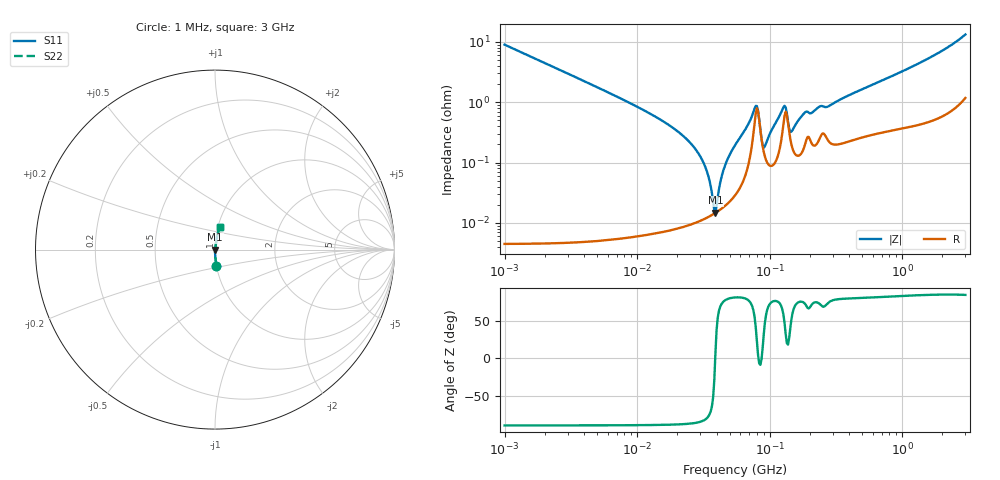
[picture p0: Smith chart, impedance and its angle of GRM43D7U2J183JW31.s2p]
!Murata Part Number: GRM43D7U2J183JW31
!These Parameters are Measured in Series Mode Connection
!Data Generated on Mar 30, 2021
!  o--ll--o
!Port1  Port2
!  o------o
!Operation Temp=25[degC], DC Bias Voltage=0[V]
!Freq. Start=1000[kHz] Stop=3[GHz] 401[Steps]
# Hz S RI R 50
!Freq.(Hz) S11(Real) S11(Imag) S21(Real) S21(Imag) S12(Real) S12(Imag) S22(Real) S22(Imag)
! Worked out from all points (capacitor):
!   401 points, 1 MHz to 3 GHz, reference 50 ohm
!   read as one part in series: C = 17.7 nF near 1.041 MHz
!   lowest |Z| = 14.7 mohm at 38.97 MHz (marker M1)
!   series resonance near 38.85 MHz, so ESL is about 950 pH
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1000000  0.00807 -0.0892  0.9919 0.0892  0.9919 0.0892  0.00807 -0.0892
3823119  0.000592 -0.0233  0.9994 0.0233  0.9994 0.0233  0.000592 -0.0233
1.461624e7  9.68e-05 -0.00532  0.9999 0.00532  0.9999 0.00532  9.68e-05 -0.00532
2.225279e7  9.3e-05 -0.00276  0.9999 0.00276  0.9999 0.00276  9.3e-05 -0.00276
2.886629e7  0.000106 -0.00144  0.9999 0.00144  0.9999 0.00144  0.000106 -0.00144
3.320783e7  0.000121 -0.000761  0.9999 0.000761  0.9999 0.000761  0.000121 -0.000761
3.526298e7  0.000129 -0.000471  0.9999 0.000471  0.9999 0.000471  0.000129 -0.000471
3.74453e7  0.000139 -0.00018  0.9999 0.00018  0.9999 0.00018  0.000139 -0.00018
3.897472e7  0.000146 1.63e-05  0.9999 -1.63e-05  0.9999 -1.63e-05  0.000146 1.63e-05
4.574308e7  0.000189 0.000836  0.9998 -0.000836  0.9998 -0.000836  0.000189 0.000836
5.477226e7  0.000288 0.00191  0.9997 -0.00191  0.9997 -0.00191  0.000288 0.00191
7.852918e7  0.00647 0.00572  0.9935 -0.00572  0.9935 -0.00572  0.00647 0.00572
8.173662e7  0.0071 0.000564  0.9929 -0.000564  0.9929 -0.000564  0.0071 0.000564
8.854986e7  0.00187 0.000459  0.9981 -0.000459  0.9981 -0.000459  0.00187 0.000459
9.216659e7  0.00125 0.00139  0.9988 -0.00139  0.9988 -0.00139  0.00125 0.00139
1.269575e8  0.0043 0.00699  0.9957 -0.00699  0.9957 -0.00699  0.0043 0.00699
1.321429e8  0.00693 0.00437  0.9931 -0.00437  0.9931 -0.00437  0.00693 0.00437
1.460522e8  0.00198 0.00257  0.998 -0.00257  0.998 -0.00257  0.00198 0.00257
1.820241e8  0.00181 0.00629  0.9982 -0.00629  0.9982 -0.00629  0.00181 0.00629
2.094008e8  0.00205 0.0064  0.998 -0.0064  0.998 -0.0064  0.00205 0.0064
8.005644e8  0.00396 0.0256  0.996 -0.0256  0.996 -0.0256  0.00396 0.0256
3e9  0.0283 0.127  0.9717 -0.127  0.9717 -0.127  0.0283 0.127
